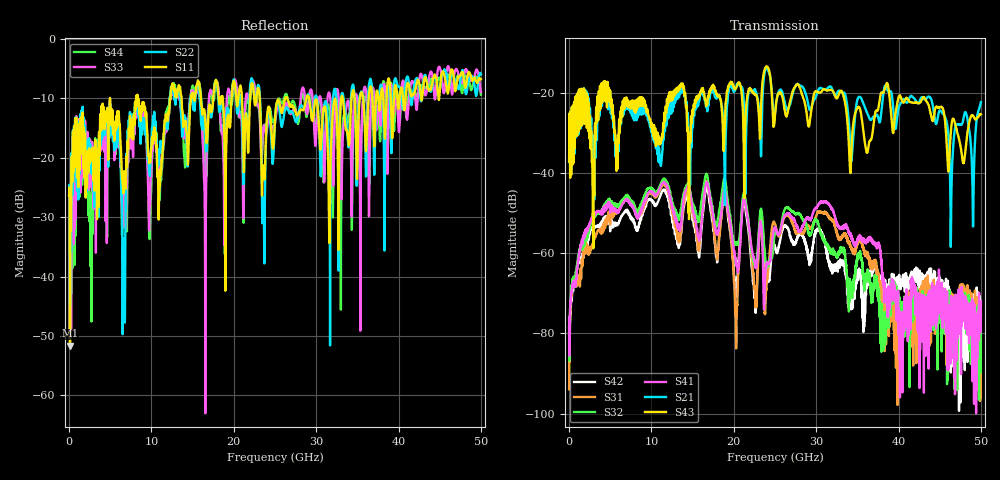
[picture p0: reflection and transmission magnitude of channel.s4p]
!Agilent Technologies,N5247A,US51170199,A.09.90.13
!Agilent N5247A: A.09.90.13
!Date: Wednesday, December 09, 2015 09:20:01
!Correction: S11(Full 4 Port(1,2,3,4))
!S12(Full 4 Port(1,2,3,4))
!S13(Full 4 Port(1,2,3,4))
!S14(Full 4 Port(1,2,3,4))
!S21(Full 4 Port(1,2,3,4))
!S22(Full 4 Port(1,2,3,4))
!S23(Full 4 Port(1,2,3,4))
!S24(Full 4 Port(1,2,3,4))
!S31(Full 4 Port(1,2,3,4))
!S32(Full 4 Port(1,2,3,4))
!S33(Full 4 Port(1,2,3,4))
!S34(Full 4 Port(1,2,3,4))
!S41(Full 4 Port(1,2,3,4))
!S42(Full 4 Port(1,2,3,4))
!S43(Full 4 Port(1,2,3,4))
!S44(Full 4 Port(1,2,3,4))
!S4P File: Measurements: <S11,S12,S13,S14>,
!<S21,S22,S23,S24>,
!<S31,S32,S33,S34>,
!<S41,S42,S43,S44>:
# Hz S  dB  R 50
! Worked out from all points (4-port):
!   3201 points, 10 MHz to 50 GHz, reference 50 ohm
!   strongest paths, dB at 10 MHz, 12.51 GHz, 25 GHz, 37.5 GHz, 50 GHz:
!     S43: -37.1, -19.8, -25.4, -24.2, -25.3
!     S21: -37.2, -22.6, -24.8, -25.9, -22.3
!     S41: -76.0, -48.5, -53.6, -57.6, -72.0
!     S32: -79.8, -47.7, -55.0, -69.8, -79.2
!     S31: -93.9, -49.6, -52.6, -66.8, -83.8
!     S42: -78.6, -51.8, -58.3, -66.5, -75.5
!   lowest |S11| = -51.6 dB at 119.4 MHz (marker M1), VSWR 1.01, Z = 50.1 + j0.253 ohm
!   |S11| at or under -10 dB: start of sweep to 4.962 GHz; 8.344 GHz to 12.3 GHz (3.959 GHz wide, 38.3 % of centre); 29.14 GHz to 33.05 GHz (3.907 GHz wide, 12.6 % of centre)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
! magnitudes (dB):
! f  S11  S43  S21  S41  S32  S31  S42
! 10 MHz  -26.4  -37.1  -37.2  -76.0  -79.8  -93.9  -78.6
! 119.4 MHz  -51.6  -36.9  -36.2  -75.1  -74.0  -75.8  -77.0
! 16.68 GHz  -17.2  -22.8  -23.3  -42.3  -40.2  -41.9  -43.6
! 20.24 GHz  -9.0  -18.8  -18.6  -61.2  -57.3  -75.9  -69.5
! 21.29 GHz  -18.6  -41.0  -25.8  -46.6  -45.1  -46.2  -47.3
! 22.57 GHz  -11.1  -20.3  -19.0  -62.0  -62.1  -69.7  -70.6
! 50 GHz  -6.8  -25.3  -22.3  -72.0  -79.2  -83.8  -75.5
